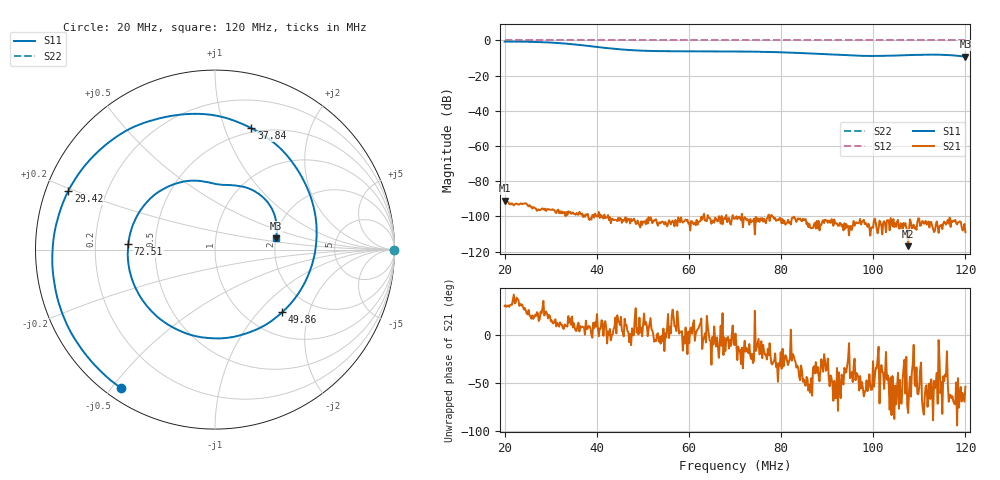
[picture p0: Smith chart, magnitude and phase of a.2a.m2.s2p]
! Anritsu VNA Master:  Model: MS2036C/10/77
! SN:  1601066
! /bd0/18may09/252.ew.m2.s2p
! Existing Calibration Information:
! TYPE:  Current Settings,  Active Cal Settings
! TIME:  05/09/2018 08:09:17 AM,  05/09/2018 08:04:56 AM
! INTERNAL TEMP:  42.0 C,  42.3 C
! # POINTS:  500,  500
! START FREQ:  20.000 MHz,  20.000 MHz
! STOP FREQ:  120.000 MHz,  120.000 MHz
! SOURCE POWER:  High,  High
! IFBW:  50 Hz,  50 Hz
! AVG FACTOR:  1 ,  1
! REF PLANE 1:  0 mm,  0 mm
! REF PLANE 2:  0 mm,  0 mm
! CAL TYPE:  Full S11,  Full S11
! CAL METHOD:  SOLT,  SOLT
! CAL LINE TYPE:  Coax,  Coax
! DUT PORT 1:  K-Conn(F),  K-Conn(F)
! DUT PORT 2:  K-Conn(F),  K-Conn(F)
! CAL STATUS:  OK: Accuracy High,  --
# GHZ S DB R 50.0
! FREQ.GHZ  S11DB  S11A  S21DB  S21A  S12DB  S12A  S22DB  S22A
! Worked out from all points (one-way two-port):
!   500 points, 20 MHz to 120 MHz, reference 50 ohm
!   highest |S21| = -90.98 dB at 20 MHz (marker M1); lowest = -116.9 dB at 107.6 MHz (marker M2)
!   lowest |S11| = -9.2 dB at 120 MHz (marker M3), VSWR 2.05, Z = 100 + j14.2 ohm
!   |S11| at or under -10 dB: nowhere
!   |S22| runs from 0.0 to 0.0 dB; largest |S21 - S12| = 1
!   S11 on the Smith chart (normalised r, x): 20 MHz: 0.05, -0.53; 29.42 MHz: 0.07, +0.19; 37.84 MHz: 0.46, +1.24; 49.86 MHz: 1.43, -1.36; 72.51 MHz: 0.35, +0.03; 120 MHz: 2.00, +0.28
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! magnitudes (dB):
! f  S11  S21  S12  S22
! 20 MHz  -0.6  -91.0  0.0  0.0
! 24.81 MHz  -0.7  -93.0  0.0  0.0
! 29.42 MHz  -1.1  -95.8  0.0  0.0
! 32.83 MHz  -1.7  -97.6  0.0  0.0
! 36.83 MHz  -2.7  -98.3  0.0  0.0
! 37.84 MHz  -3.0  -99.1  0.0  0.0
! 44.65 MHz  -5.0  -100.8  0.0  0.0
! 47.05 MHz  -5.4  -101.5  0.0  0.0
! 49.86 MHz  -5.8  -104.7  0.0  0.0
! 53.47 MHz  -6.1  -103.5  0.0  0.0
! 70.1 MHz  -6.2  -101.0  0.0  0.0
! 72.51 MHz  -6.3  -102.1  0.0  0.0
! 80.12 MHz  -6.7  -104.0  0.0  0.0
! 86.73 MHz  -7.4  -106.6  0.0  0.0
! 97.35 MHz  -8.7  -104.6  0.0  0.0
! 100.2 MHz  -8.8  -102.2  0.0  0.0
! 103.4 MHz  -8.7  -102.2  0.0  0.0
! 107.6 MHz  -8.3  -116.9  0.0  0.0
! 111.6 MHz  -8.1  -104.6  0.0  0.0
! 114.6 MHz  -8.1  -105.2  0.0  0.0
! 117.2 MHz  -8.5  -103.2  0.0  0.0
! 120 MHz  -9.2  -109.0  0.0  0.0
